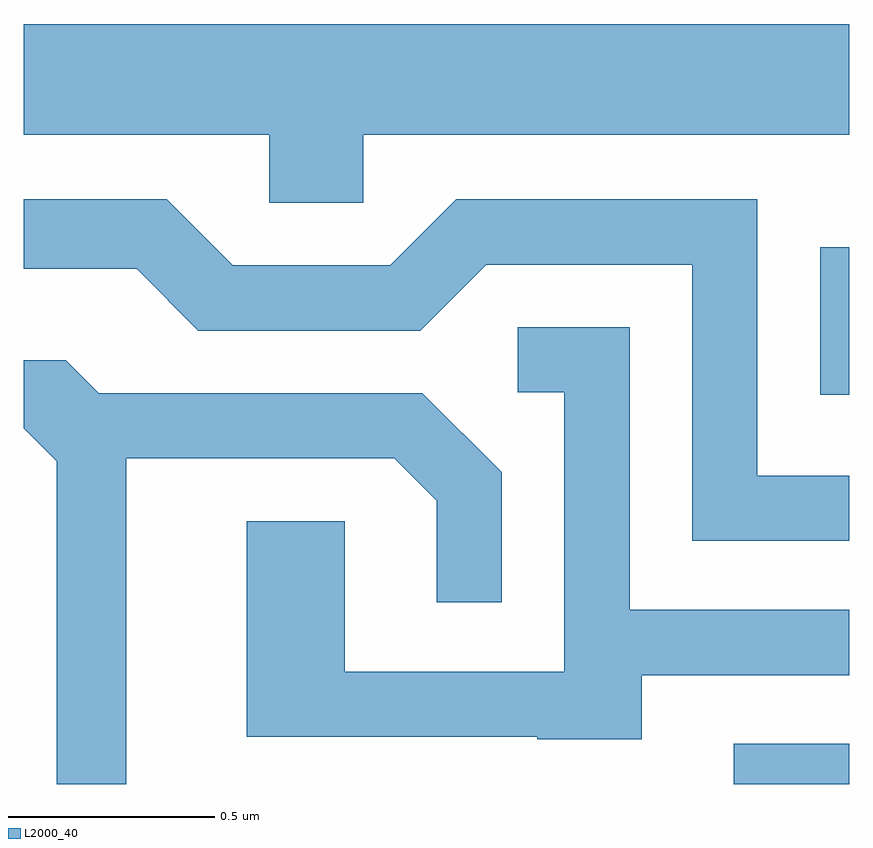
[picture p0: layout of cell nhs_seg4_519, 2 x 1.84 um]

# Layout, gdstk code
import gdstk
lib = gdstk.Library(unit=1e-6, precision=1e-09)
def R(c, l, rs):  # rectangles x0, y0, x1, y1
    for r in rs: c.add(gdstk.rectangle(r[:2], r[2:], *l))
def P(c, l, *ps):  # polygons
    for p in ps: c.add(gdstk.Polygon(p, *l))
L2000_40 = (2000, 40)

nhs_seg4_519 = lib.new_cell('nhs_seg4_519')
R(nhs_seg4_519, L2000_40, [(190.331,1361.982,190.611,1362.079), (190.541,1362.926,190.611,1363.283)])
P(nhs_seg4_519, L2000_40, [(189.434,1363.556),(190.611,1363.556),(190.611,1363.824),(188.611,1363.824),(188.611,1363.556),(189.206,1363.556),(189.206,1363.391),(189.434,1363.391)],
  [(190.611,1362.729),(190.389,1362.729),(190.389,1363.399),(189.659,1363.399),(189.499,1363.239),(189.117,1363.239),(188.957,1363.399),(188.611,1363.399),(188.611,1363.231),(188.884,1363.231),(189.034,1363.081),(189.572,1363.081),(189.732,1363.241),(190.231,1363.241),(190.231,1362.571),(190.611,1362.571)],
  [(190.109,1362.246),(190.611,1362.246),(190.611,1362.404),(190.079,1362.404),(190.079,1363.089),(189.808,1363.089),(189.808,1362.931),(189.921,1362.931),(189.921,1362.254),(189.389,1362.254),(189.389,1362.619),(189.151,1362.619),(189.151,1362.096),(189.855,1362.096),(189.855,1362.091),(190.109,1362.091)],
  [(188.859,1362.771),(189.509,1362.771),(189.611,1362.669),(189.611,1362.423),(189.769,1362.423),(189.769,1362.737),(189.577,1362.929),(188.792,1362.929),(188.712,1363.009),(188.611,1363.009),(188.611,1362.844),(188.691,1362.764),(188.691,1361.982),(188.859,1361.982)])

lib.write_gds('nhs_seg4_519.gds')
